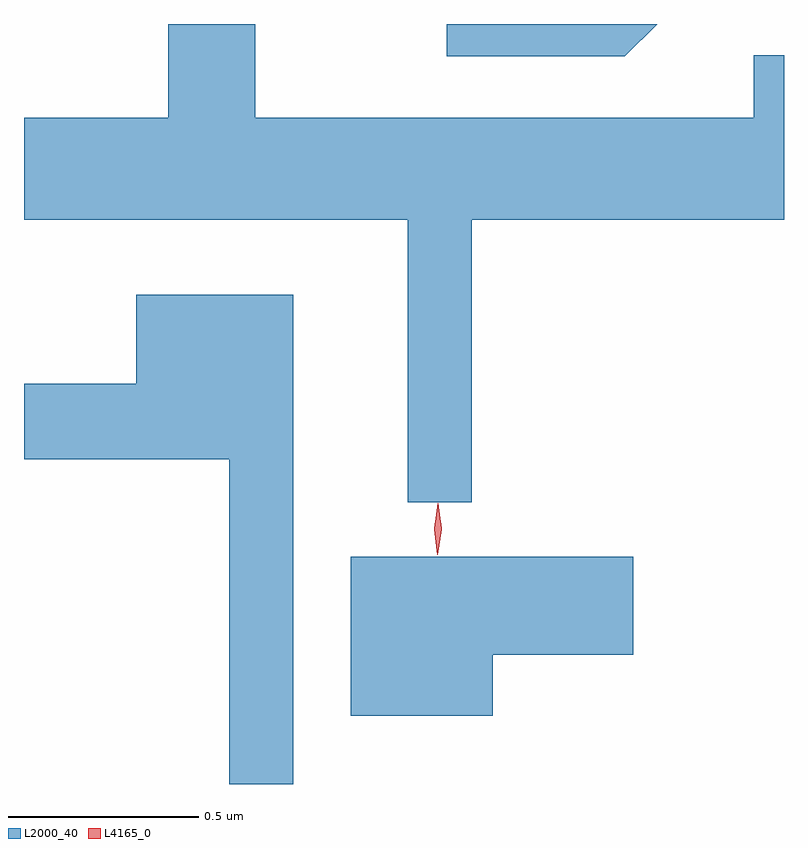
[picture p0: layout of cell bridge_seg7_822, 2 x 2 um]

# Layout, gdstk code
import gdstk
lib = gdstk.Library(unit=1e-6, precision=1e-09)
def P(c, l, *ps):  # polygons
    for p in ps: c.add(gdstk.Polygon(p, *l))
L2000_40 = (2000, 40)
L4165_0 = (4165, 0)

bridge_seg7_822 = lib.new_cell('bridge_seg7_822')
P(bridge_seg7_822, L2000_40, [(344.569,1794.236),(345.391,1794.236),(345.391,1794.669),(345.311,1794.669),(345.311,1794.504),(343.999,1794.504),(343.999,1794.751),(343.771,1794.751),(343.771,1794.504),(343.391,1794.504),(343.391,1794.236),(344.401,1794.236),(344.401,1793.493),(344.569,1793.493)],
  [(345.057,1794.751),(344.503,1794.751),(344.503,1794.666),(344.972,1794.666)],
  [(344.099,1794.039),(343.686,1794.039),(343.686,1793.804),(343.391,1793.804),(343.391,1793.606),(343.931,1793.606),(343.931,1792.751),(344.099,1792.751)],
  [(344.624,1793.091),(344.994,1793.091),(344.994,1793.349),(344.251,1793.349),(344.251,1792.931),(344.624,1792.931)])
P(bridge_seg7_822, L4165_0, [(344.479,1793.36),(344.479,1793.361),(344.47,1793.424),(344.48,1793.486),(344.481,1793.487),(344.481,1793.486),(344.49,1793.424),(344.48,1793.361)],
  [(344.479,1793.354),(344.47,1793.422),(344.48,1793.49),(344.481,1793.49),(344.481,1793.49),(344.49,1793.422),(344.48,1793.354),(344.48,1793.354)])

lib.write_gds('bridge_seg7_822.gds')
